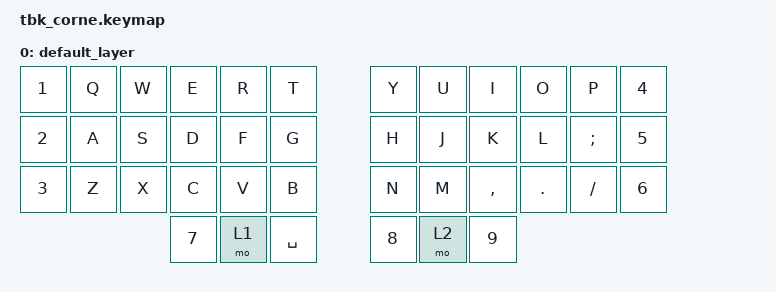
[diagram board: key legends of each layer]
/*
 * Copyright (c) 2020 The ZMK Contributors
 *
 * SPDX-License-Identifier: MIT
 */

#include <behaviors.dtsi>
#include <dt-bindings/zmk/keys.h>

/ {
        keymap {
                compatible = "zmk,keymap";

                default_layer {
// -----------------------------------------------------------------------------------------
// |  TAB |  Q  |  W  |  E  |  R  |  T  |   |  Y  |  U   |  I  |  O  |  P  | BSPC |
// | CTRL |  A  |  S  |  D  |  F  |  G  |   |  H  |  J   |  K  |  L  |  ;  |  '   |
// | SHFT |  Z  |  X  |  C  |  V  |  B  |   |  N  |  M   |  ,  |  .  |  /  | ESC  |
//                    | GUI | LWR | SPC |   | ENT | RSE  | ALT |
                        bindings = <
   &kp N1   &kp Q &kp W  &kp E &kp R &kp T   &kp Y &kp U  &kp I     &kp O   &kp P    &kp N4
   &kp N2   &kp A &kp S  &kp D &kp F &kp G   &kp H &kp J  &kp K     &kp L   &kp SEMI &kp N5
   &kp N3   &kp Z &kp X  &kp C &kp V &kp B   &kp N &kp M  &kp COMMA &kp DOT &kp FSLH &kp N6
                  &kp N7 &mo 1 &kp SPACE   &kp N8 &mo 2 &kp N9
                        >;
                };
        };
};
